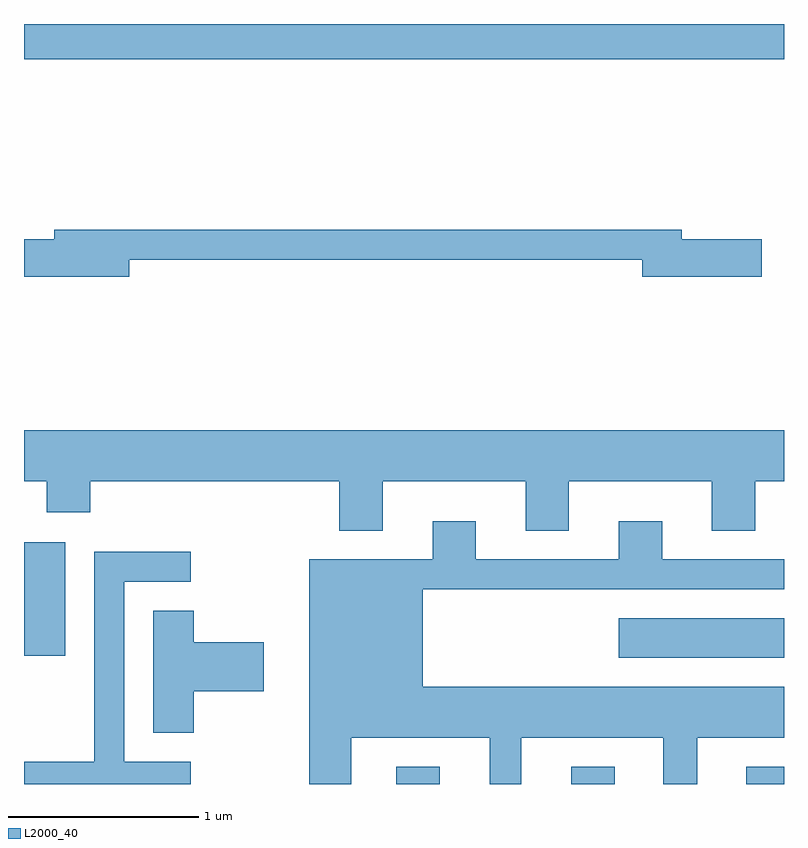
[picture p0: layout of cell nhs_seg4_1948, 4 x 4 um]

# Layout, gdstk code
import gdstk
lib = gdstk.Library(unit=1e-6, precision=1e-09)
def R(c, l, rs):  # rectangles x0, y0, x1, y1
    for r in rs: c.add(gdstk.rectangle(r[:2], r[2:], *l))
def P(c, l, *ps):  # polygons
    for p in ps: c.add(gdstk.Polygon(p, *l))
L2000_40 = (2000, 40)

nhs_seg4_1948 = lib.new_cell('nhs_seg4_1948')
R(nhs_seg4_1948, L2000_40, [(243.571,1341.982,243.799,1342.074), (244.491,1341.982,244.719,1342.074), (245.411,1341.982,245.611,1342.074), (244.741,1342.646,245.611,1342.854), (241.611,1342.656,241.829,1343.254), (241.611,1345.796,245.611,1345.982)])
P(nhs_seg4_1948, L2000_40, [(242.164,1344.741),(244.866,1344.741),(244.866,1344.651),(245.494,1344.651),(245.494,1344.849),(245.074,1344.849),(245.074,1344.899),(241.771,1344.899),(241.771,1344.849),(241.611,1344.849),(241.611,1344.651),(242.164,1344.651)],
  [(241.611,1343.576),(241.731,1343.576),(241.731,1343.411),(241.959,1343.411),(241.959,1343.576),(243.271,1343.576),(243.271,1343.316),(243.499,1343.316),(243.499,1343.576),(244.251,1343.576),(244.251,1343.316),(244.479,1343.316),(244.479,1343.576),(245.231,1343.576),(245.231,1343.316),(245.459,1343.316),(245.459,1343.576),(245.611,1343.576),(245.611,1343.844),(241.611,1343.844)],
  [(243.334,1342.226),(244.061,1342.226),(244.061,1341.982),(244.229,1341.982),(244.229,1342.226),(244.976,1342.226),(244.976,1341.982),(245.154,1341.982),(245.154,1342.226),(245.611,1342.226),(245.611,1342.494),(243.709,1342.494),(243.709,1343.006),(245.611,1343.006),(245.611,1343.164),(244.969,1343.164),(244.969,1343.364),(244.741,1343.364),(244.741,1343.164),(243.989,1343.164),(243.989,1343.364),(243.761,1343.364),(243.761,1343.164),(243.111,1343.164),(243.111,1341.982),(243.334,1341.982)],
  [(242.488,1342.099),(242.139,1342.099),(242.139,1343.046),(242.488,1343.046),(242.488,1343.204),(241.981,1343.204),(241.981,1342.099),(241.611,1342.099),(241.611,1341.982),(242.488,1341.982)],
  [(242.504,1342.471),(242.874,1342.471),(242.874,1342.729),(242.504,1342.729),(242.504,1342.894),(242.291,1342.894),(242.291,1342.251),(242.504,1342.251)])

lib.write_gds('nhs_seg4_1948.gds')
